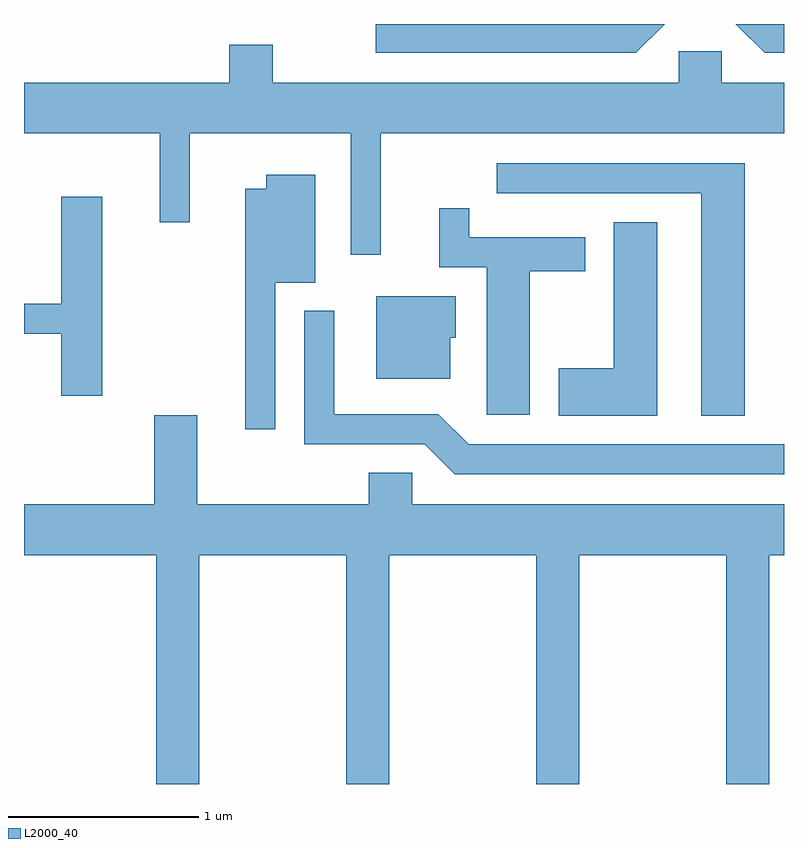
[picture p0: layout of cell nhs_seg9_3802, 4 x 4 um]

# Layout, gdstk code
import gdstk
lib = gdstk.Library(unit=1e-6, precision=1e-09)
def P(c, l, *ps):  # polygons
    for p in ps: c.add(gdstk.Polygon(p, *l))
L2000_40 = (2000, 40)

nhs_seg9_3802 = lib.new_cell('nhs_seg9_3802')
P(nhs_seg9_3802, L2000_40, [(301.611,1952.432),(301.358,1952.432),(301.509,1952.281),(301.611,1952.281)],
  [(300.983,1952.432),(299.461,1952.432),(299.461,1952.281),(300.832,1952.281)],
  [(299.489,1951.856),(301.611,1951.856),(301.611,1952.124),(301.284,1952.124),(301.284,1952.289),(301.056,1952.289),(301.056,1952.124),(298.919,1952.124),(298.919,1952.324),(298.691,1952.324),(298.691,1952.124),(297.611,1952.124),(297.611,1951.856),(298.326,1951.856),(298.326,1951.388),(298.484,1951.388),(298.484,1951.856),(299.331,1951.856),(299.331,1951.218),(299.489,1951.218)],
  [(301.404,1951.699),(300.098,1951.699),(300.098,1951.541),(301.176,1951.541),(301.176,1950.371),(301.404,1950.371)],
  [(298.934,1951.071),(299.144,1951.071),(299.144,1951.639),(298.886,1951.639),(298.886,1951.564),(298.776,1951.564),(298.776,1950.298),(298.934,1950.298)],
  [(298.024,1951.524),(297.806,1951.524),(297.806,1950.959),(297.611,1950.959),(297.611,1950.801),(297.806,1950.801),(297.806,1950.476),(298.024,1950.476)],
  [(300.274,1951.131),(300.564,1951.131),(300.564,1951.309),(299.954,1951.309),(299.954,1951.463),(299.796,1951.463),(299.796,1951.151),(300.046,1951.151),(300.046,1950.376),(300.274,1950.376)],
  [(300.944,1951.389),(300.716,1951.389),(300.716,1950.619),(300.426,1950.619),(300.426,1950.371),(300.944,1950.371)],
  [(299.854,1950.781),(299.884,1950.781),(299.884,1950.999),(299.466,1950.999),(299.466,1950.566),(299.854,1950.566)],
  [(301.611,1950.219),(299.952,1950.219),(299.792,1950.379),(299.244,1950.379),(299.244,1950.923),(299.086,1950.923),(299.086,1950.221),(299.719,1950.221),(299.879,1950.061),(301.611,1950.061)],
  [(298.534,1949.636),(299.306,1949.636),(299.306,1948.432),(299.534,1948.432),(299.534,1949.636),(300.306,1949.636),(300.306,1948.432),(300.534,1948.432),(300.534,1949.636),(301.306,1949.636),(301.306,1948.432),(301.534,1948.432),(301.534,1949.636),(301.611,1949.636),(301.611,1949.904),(299.654,1949.904),(299.654,1950.069),(299.426,1950.069),(299.426,1949.904),(298.524,1949.904),(298.524,1950.374),(298.296,1950.374),(298.296,1949.904),(297.611,1949.904),(297.611,1949.636),(298.306,1949.636),(298.306,1948.432),(298.534,1948.432)])

lib.write_gds('nhs_seg9_3802.gds')
